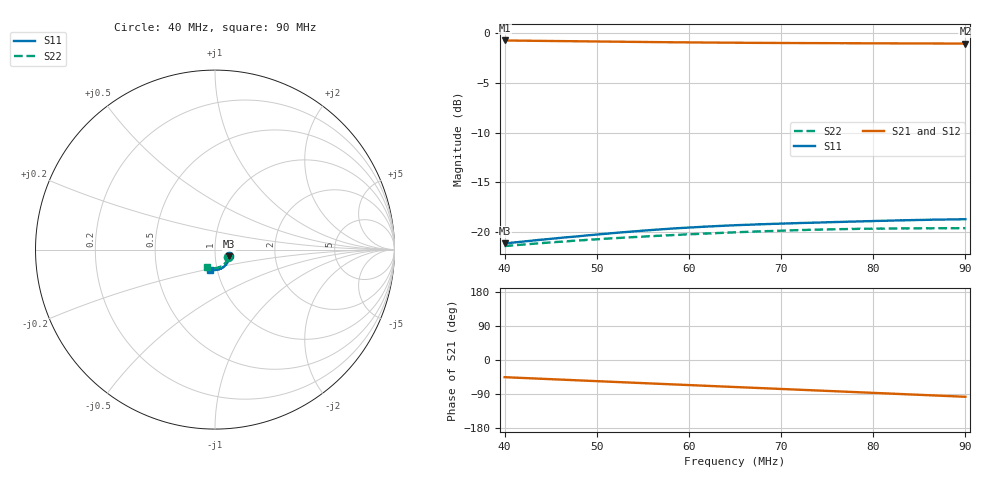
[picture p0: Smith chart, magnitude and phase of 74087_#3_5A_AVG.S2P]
!Agilent Technologies,E5061B,MY49102235,A.02.00
!Date: Mon Jul 03 11:18:15 2023
!Data & Calibration Information:
!Freq	S11:SOLT2(ON)	S21:SOLT2(ON)	S12:SOLT2(ON)	S22:SOLT2(ON)
# Hz S RI R 50
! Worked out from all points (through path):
!   1600 points, 40 MHz to 90 MHz, reference 50 ohm
!   highest |S21| = -0.75 dB at 40 MHz (marker M1); lowest = -1.1 dB at 90 MHz (marker M2)
!   group delay of S21, straight-line fit = 2.87 ns
!   lowest |S11| = -21.1 dB at 40 MHz (marker M3), VSWR 1.19, Z = 58.4 - j4.44 ohm
!   |S11| at or under -10 dB: start of sweep to end of sweep
!   |S22| runs from -21.4 to -19.6 dB; largest |S21 - S12| = 0.00097
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4e7  0.0794 -0.0377  0.6447 -0.6522  0.6448 -0.6515  0.0745 -0.0413
4.021889e7  0.0793 -0.0383  0.6419 -0.6546  0.6419 -0.6538  0.0745 -0.0419
4.087555e7  0.0792 -0.0401  0.6333 -0.6618  0.6336 -0.661  0.074 -0.0437
4.450281e7  0.0777 -0.0499  0.5853 -0.6989  0.5853 -0.6987  0.0708 -0.0533
4.834897e7  0.0744 -0.0606  0.5323 -0.735  0.5325 -0.7347  0.066 -0.063
5.053784e7  0.0719 -0.0666  0.5014 -0.7539  0.5017 -0.7535  0.0625 -0.0683
5.266417e7  0.069 -0.0721  0.4707 -0.7709  0.4708 -0.7707  0.0588 -0.0732
5.485303e7  0.0656 -0.0778  0.4388 -0.7871  0.4391 -0.7869  0.0545 -0.0778
5.666667e7  0.0625 -0.0822  0.4121 -0.7994  0.4121 -0.7993  0.0506 -0.0814
6.06379e7  0.0546 -0.091  0.3527 -0.8238  0.3528 -0.8235  0.0414 -0.0888
6.273296e7  0.0498 -0.095  0.3211 -0.8351  0.3212 -0.8349  0.036 -0.0922
6.501563e7  0.0441 -0.099  0.2861 -0.8461  0.2863 -0.8457  0.0298 -0.0954
6.901814e7  0.0336 -0.1049  0.2245 -0.8624  0.2246 -0.8619  0.0182 -0.0999
7.126954e7  0.0274 -0.1075  0.1893 -0.8698  0.1895 -0.8693  0.0115 -0.1016
7.33646e7  0.0214 -0.1097  0.1562 -0.8756  0.1566 -0.875  0.00496 -0.1028
7.746091e7  0.0097 -0.1126  0.0913 -0.8833  0.0916 -0.8829  -0.00757 -0.1036
7.936836e7  0.00405 -0.1135  0.0607 -0.8853  0.0611 -0.885  -0.0134 -0.1033
8.16823e7  -0.00271 -0.1143  0.0237 -0.8864  0.0242 -0.8863  -0.0203 -0.1025
8.358974e7  -0.00817 -0.1146  -0.00688 -0.8863  -0.00645 -0.886  -0.0258 -0.1014
8.596623e7  -0.0149 -0.1146  -0.0448 -0.8846  -0.0445 -0.8845  -0.0324 -0.0996
8.971857e7  -0.0255 -0.1134  -0.1043 -0.8787  -0.1044 -0.8785  -0.0426 -0.0958
9e7  -0.0262 -0.1133  -0.1087 -0.8781  -0.1088 -0.878  -0.0434 -0.0954
